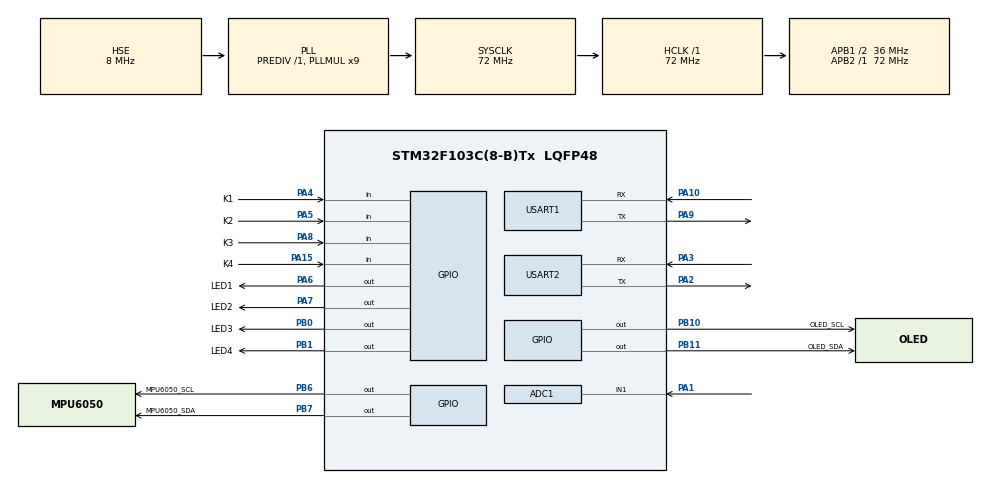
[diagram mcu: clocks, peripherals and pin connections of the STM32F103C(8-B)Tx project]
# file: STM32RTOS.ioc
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ADC1.Channel-0\#ChannelRegularConversion=ADC_CHANNEL_1
ADC1.ContinuousConvMode=ENABLE
ADC1.NbrOfConversionFlag=1
ADC1.Rank-0\#ChannelRegularConversion=1
ADC1.SamplingTime-0\#ChannelRegularConversion=ADC_SAMPLETIME_55CYCLES_5
ADC1.master=1
Dma.ADC1.0.Direction=DMA_PERIPH_TO_MEMORY
Dma.ADC1.0.Instance=DMA1_Channel1
Dma.ADC1.0.MemDataAlignment=DMA_MDATAALIGN_HALFWORD
Dma.ADC1.0.MemInc=DMA_MINC_ENABLE
Dma.ADC1.0.Mode=DMA_CIRCULAR
Dma.ADC1.0.PeriphDataAlignment=DMA_PDATAALIGN_HALFWORD
Dma.ADC1.0.PeriphInc=DMA_PINC_DISABLE
Dma.ADC1.0.Priority=DMA_PRIORITY_LOW
Dma.Request0=ADC1
FREERTOS.Tasks01=defaultTask,0,256,StartDefaultTask,Default,NULL,Dynamic,NULL,NULL;KeyTask,-3,128,StartTKeyTask,Default,NULL,Dynamic,NULL,NULL;DispTask,-3,256,StartDispTask,Default,NULL,Dynamic,NULL,NULL;LedTask,-3,128,StartLedTask,Default,NULL,Dynamic,NULL,NULL
FREERTOS.configTOTAL_HEAP_SIZE=6144
Mcu.Family=STM32F1
Mcu.Name=STM32F103C(8-B)Tx
Mcu.Package=LQFP48
NVIC.DMA1_Channel1_IRQn=true\:5\:0\:false\:false\:true\:true\:false\:true
NVIC.PriorityGroup=NVIC_PRIORITYGROUP_4
NVIC.TIM1_UP_IRQn=true\:0\:0\:false\:false\:true\:false\:false\:true
NVIC.TimeBase=TIM1_UP_IRQn
NVIC.TimeBaseIP=TIM1
NVIC.USART1_IRQn=true\:6\:0\:true\:false\:true\:true\:true\:true
NVIC.USART2_IRQn=true\:6\:0\:true\:false\:true\:true\:true\:true
PA1.Signal=ADCx_IN1
PA10.Mode=Asynchronous
PA10.Signal=USART1_RX
PA13.Mode=Serial_Wire
PA13.Signal=SYS_JTMS-SWDIO
PA14.Mode=Serial_Wire
PA14.Signal=SYS_JTCK-SWCLK
PA15.GPIO_Label=K4
PA15.GPIO_PuPd=GPIO_PULLUP
PA15.Signal=GPIO_Input
PA2.Mode=Asynchronous
PA2.Signal=USART2_TX
PA3.Mode=Asynchronous
PA3.Signal=USART2_RX
PA4.GPIO_Label=K1
PA4.GPIO_PuPd=GPIO_PULLUP
PA4.Signal=GPIO_Input
PA5.GPIO_Label=K2
PA5.GPIO_PuPd=GPIO_PULLUP
PA5.Signal=GPIO_Input
PA6.GPIO_Label=LED1
PA6.PinState=GPIO_PIN_SET
PA6.Signal=GPIO_Output
PA7.GPIO_Label=LED2
PA7.PinState=GPIO_PIN_SET
PA7.Signal=GPIO_Output
PA8.GPIO_Label=K3
PA8.GPIO_PuPd=GPIO_PULLUP
PA8.Signal=GPIO_Input
PA9.Mode=Asynchronous
PA9.Signal=USART1_TX
PB0.GPIO_Label=LED3
PB0.PinState=GPIO_PIN_SET
PB0.Signal=GPIO_Output
PB1.GPIO_Label=LED4
PB1.PinState=GPIO_PIN_SET
PB1.Signal=GPIO_Output
PB10.GPIO_Label=OLED_SCL
PB10.GPIO_ModeDefaultOutputPP=GPIO_MODE_OUTPUT_OD
PB10.Signal=GPIO_Output
PB11.GPIO_Label=OLED_SDA
PB11.GPIO_ModeDefaultOutputPP=GPIO_MODE_OUTPUT_OD
PB11.Signal=GPIO_Output
PB6.GPIO_Label=MPU6050_SCL
PB6.GPIO_ModeDefaultOutputPP=GPIO_MODE_OUTPUT_OD
PB6.Signal=GPIO_Output
PB7.GPIO_Label=MPU6050_SDA
PB7.GPIO_ModeDefaultOutputPP=GPIO_MODE_OUTPUT_OD
PB7.Signal=GPIO_Output
PD0-OSC_IN.Mode=HSE-External-Oscillator
PD0-OSC_IN.Signal=RCC_OSC_IN
PD1-OSC_OUT.Mode=HSE-External-Oscillator
PD1-OSC_OUT.Signal=RCC_OSC_OUT
ProjectManager.HeapSize=0xC00
ProjectManager.StackSize=0x400
ProjectManager.TargetToolchain=MDK-ARM V5
RCC.ADCPresc=RCC_ADCPCLK2_DIV6
RCC.AHBFreq_Value=72000000
RCC.APB1CLKDivider=RCC_HCLK_DIV2
RCC.APB1Freq_Value=36000000
RCC.APB1TimFreq_Value=72000000
RCC.APB2Freq_Value=72000000
RCC.APB2TimFreq_Value=72000000
RCC.HCLKFreq_Value=72000000
RCC.PLLMUL=RCC_PLL_MUL9
RCC.PLLSourceVirtual=RCC_PLLSOURCE_HSE
RCC.SYSCLKFreq_VALUE=72000000
RCC.SYSCLKSource=RCC_SYSCLKSOURCE_PLLCLK
RCC.USBFreq_Value=72000000
SH.ADCx_IN1.0=ADC1_IN1,IN1
USART1.VirtualMode=VM_ASYNC
USART2.VirtualMode=VM_ASYNC
VP_FREERTOS_VS_CMSIS_V1.Mode=CMSIS_V1
VP_SYS_VS_tim1.Mode=TIM1
board=custom

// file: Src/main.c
/* USER CODE BEGIN Header */
/**
  ******************************************************************************
  * @file           : main.c
  * @brief          : Main program body
  ******************************************************************************
  * @attention
  *
  * <h2><center>&copy; Copyright (c) 2019 STMicroelectronics.
  * All rights reserved.</center></h2>
  *
  * This software component is licensed by ST under BSD 3-Clause license,
  * the "License"; You may not use this file except in compliance with the
  * License. You may obtain a copy of the License at:
  *                        opensource.org/licenses/BSD-3-Clause
  *
  ******************************************************************************
  */
/* USER CODE END Header */

#include "main.h"
#include "cmsis_os.h"

/* USER CODE BEGIN Includes */
#include "string.h"
#include "GUI.h"
#include "MPU6050.h"
/* USER CODE END Includes */

ADC_HandleTypeDef hadc1;
DMA_HandleTypeDef hdma_adc1;

UART_HandleTypeDef huart1;
UART_HandleTypeDef huart2;

osThreadId defaultTaskHandle;
osThreadId KeyTaskHandle;
osThreadId DispTaskHandle;
osThreadId LedTaskHandle;
/* USER CODE BEGIN PV */
#define MAX_RECV_LEN 128
extern GUI_FLASH const GUI_FONT GUI_FontHZ_SimSun_12;
extern GUI_CONST_STORAGE GUI_BITMAP bmAvatar_Invert;
extern GUI_CONST_STORAGE GUI_BITMAP bmAvatar;
uint8_t K1_sta =0;
uint8_t K2_sta =0;
uint8_t K3_sta =0;
uint8_t K4_sta =0;
uint8_t func_switch=1;
int mpuok = 0;
uint8_t style = 0;
uint16_t val[20];
uint16_t adval=0;
int page_sta=0;
uint8_t Ledsta =0;
uint8_t LED_flowflag=0;

int start_sig=0;
int func_in=0;

char  recv[100];
int recvtype=0;

int playmode=0;
int ballx=64;
int bally=32;//陀螺仪控制球

int sendTime =100; //1ms
int sendTime_switch=0;
int bSend=0;
int dataStyle=0;
int sendCount=0;
/* USER CODE END PV */

void SystemClock_Config(void);
static void MX_GPIO_Init(void);
static void MX_DMA_Init(void);
static void MX_USART1_UART_Init(void);
static void MX_USART2_UART_Init(void);
static void MX_ADC1_Init(void);
void StartDefaultTask(void const * argument);
void StartTKeyTask(void const * argument);
void StartDispTask(void const * argument);
void StartLedTask(void const * argument);

/* USER CODE BEGIN PFP */
uint8_t rx1_buff[MAX_RECV_LEN] = {0};  // 串口接收数据缓冲
uint8_t * pBuf = rx1_buff;  // 当前接收字节存放位置指针
uint8_t line_flag = 0;      // 一行数据接收标志
HAL_StatusTypeDef rxit_ok; 	// 接收中断是否开启
uint8_t rx2_buff[MAX_RECV_LEN] = {0};  // 串口接收数据缓冲
uint8_t * pBuf2 = rx2_buff; // 当前接收字节存放位置指针
uint8_t line_flag2 = 0;     // 一行数据接收标志
HAL_StatusTypeDef rxit_ok2; // 接收中断是否开启
/* USER CODE END PFP */

/* USER CODE BEGIN 0 */
int fputc(int ch, FILE *f) {
    HAL_UART_Transmit(&huart1, (uint8_t *)&ch, 1, 0xffff); // 向串口1发送一个字符
    return 0;
}
void HAL_ADC_ConvCpltCallback(ADC_HandleTypeDef* hadc)
{
  int i;
  uint16_t sum = 0;
  for (i = 0; i < 20; ++i)
    sum += val[i];
  adval = sum / 20;
}
//LED SET BEGIN
void setLEDS(uint8_t sta){
	HAL_GPIO_WritePin(LED1_GPIO_Port,LED1_Pin,(sta & 0x01)?GPIO_PIN_RESET:GPIO_PIN_SET);
	HAL_GPIO_WritePin(LED2_GPIO_Port,LED2_Pin,(sta & 0x02)?GPIO_PIN_RESET:GPIO_PIN_SET);
	HAL_GPIO_WritePin(LED3_GPIO_Port,LED3_Pin,(sta & 0x04)?GPIO_PIN_RESET:GPIO_PIN_SET);
	HAL_GPIO_WritePin(LED4_GPIO_Port,LED4_Pin,(sta & 0x08)?GPIO_PIN_RESET:GPIO_PIN_SET);
}
// LED SET END
//流水灯 start
void RunLsd(void)
{
  setLEDS(Ledsta);

  if (LED_flowflag)
  {
    Ledsta >>= 1;
    if (0 == Ledsta)
      Ledsta = 0x08;
		HAL_Delay(100);
  }
}
//流水灯 end
//接收中断回调函数
void HAL_UART_RxCpltCallback(UART_HandleTypeDef *UartHandle) {
  uint8_t cnt = 0; // 临时变量，用于重复计数
  if (UartHandle->Instance == USART1)
  {
    ++ pBuf;  // 已接收一个字节数据，当前存储位置指针后移
    if(pBuf == rx1_buff + MAX_RECV_LEN)  // 如果指针已移出数组边界
        pBuf = rx1_buff;    // 重新指向数组开头
    else if(*(pBuf - 1) == '\n')  // 如果之前接收到‘\n’换行符，则表示接收完成
        line_flag  = 1;
    // 重新开启接收中断
    do {
        rxit_ok = HAL_UART_Receive_IT(UartHandle, pBuf, 1);
        if (++cnt >= 5)
            break;
    } while(rxit_ok != HAL_OK);
  }
  else if(UartHandle->Instance == USART2)
  {
    ++ pBuf2;  // 已接收一个字节数据，当前存储位置指针后移
    if(pBuf2 == rx2_buff + MAX_RECV_LEN)  // 如果指针已移出数组边界
        pBuf2 = rx2_buff;    // 重新指向数组开头
    else if(*(pBuf2 - 1) == '\n')  // 如果之前接收到‘\n’换行符，则表示接收完成
        line_flag2  = 1;
    // 重新开启接收中断
    do {
        rxit_ok2 = HAL_UART_Receive_IT(UartHandle, pBuf2, 1);
        if (++cnt >= 5)
            break;
    } while(rxit_ok2 != HAL_OK);
  }
}

//校验和
void addChkSum(char *buf,int len){
	const char TAB[16] = {
		'0', '1', '2','3','4','5','6','7',
		'8', '9', 'A','B','C','D','E','F'
	};
	int i=0;
	uint16_t sum =0;
	for (i=0;i<len;++i){
		if(buf[i] !='\n'&&buf[i]!=0)
			sum+=buf[i];
		else
			break;
	}
	buf[i]=TAB[(sum&0xFF)>>4];//保留高位右移4个字节
	buf[i+1]=TAB[sum&0x0F];
	buf[i+2]='\n';
	buf[i+3]='\0';
}
/* USER CODE END 0 */

int main(void)
{

  /* MCU Configuration--------------------------------------------------------*/

  /* Reset of all peripherals, Initializes the Flash interface and the Systick. */
  HAL_Init();

  /* Configure the system clock */
  SystemClock_Config();

  /* Initialize all configured peripherals */
  MX_GPIO_Init();
  MX_DMA_Init();
  MX_USART1_UART_Init();
  MX_USART2_UART_Init();
  MX_ADC1_Init();
  /* USER CODE BEGIN 2 */
	printf("hello PC\n");
	rxit_ok = HAL_UART_Receive_IT(&huart1, pBuf, 1);
	rxit_ok2 = HAL_UART_Receive_IT(&huart2, pBuf2, 1);
  /* USER CODE END 2 */

  /* Create the thread(s) */
  /* definition and creation of defaultTask */
  osThreadDef(defaultTask, StartDefaultTask, osPriorityNormal, 0, 256);
  defaultTaskHandle = osThreadCreate(osThread(defaultTask), NULL);

  /* definition and creation of KeyTask */
  osThreadDef(KeyTask, StartTKeyTask, osPriorityIdle, 0, 128);
  KeyTaskHandle = osThreadCreate(osThread(KeyTask), NULL);

  /* definition and creation of DispTask */
  osThreadDef(DispTask, StartDispTask, osPriorityIdle, 0, 256);
  DispTaskHandle = osThreadCreate(osThread(DispTask), NULL);

  /* definition and creation of LedTask */
  osThreadDef(LedTask, StartLedTask, osPriorityIdle, 0, 128);
  LedTaskHandle = osThreadCreate(osThread(LedTask), NULL);

  /* Start scheduler */
  osKernelStart();

  /* We should never get here as control is now taken by the scheduler */

  /* Infinite loop */
  while (1)
  {

  }
}

void SystemClock_Config(void)
{
  RCC_OscInitTypeDef RCC_OscInitStruct = {0};
  RCC_ClkInitTypeDef RCC_ClkInitStruct = {0};
  RCC_PeriphCLKInitTypeDef PeriphClkInit = {0};

  /** Initializes the CPU, AHB and APB busses clocks
  */
  RCC_OscInitStruct.OscillatorType = RCC_OSCILLATORTYPE_HSE;
  RCC_OscInitStruct.HSEState = RCC_HSE_ON;
  RCC_OscInitStruct.HSEPredivValue = RCC_HSE_PREDIV_DIV1;
  RCC_OscInitStruct.HSIState = RCC_HSI_ON;
  RCC_OscInitStruct.PLL.PLLState = RCC_PLL_ON;
  RCC_OscInitStruct.PLL.PLLSource = RCC_PLLSOURCE_HSE;
  RCC_OscInitStruct.PLL.PLLMUL = RCC_PLL_MUL9;
  if (HAL_RCC_OscConfig(&RCC_OscInitStruct) != HAL_OK)
  {
    Error_Handler();
  }
  /** Initializes the CPU, AHB and APB busses clocks
  */
  RCC_ClkInitStruct.ClockType = RCC_CLOCKTYPE_HCLK|RCC_CLOCKTYPE_SYSCLK
                              |RCC_CLOCKTYPE_PCLK1|RCC_CLOCKTYPE_PCLK2;
  RCC_ClkInitStruct.SYSCLKSource = RCC_SYSCLKSOURCE_PLLCLK;
  RCC_ClkInitStruct.AHBCLKDivider = RCC_SYSCLK_DIV1;
  RCC_ClkInitStruct.APB1CLKDivider = RCC_HCLK_DIV2;
  RCC_ClkInitStruct.APB2CLKDivider = RCC_HCLK_DIV1;

  if (HAL_RCC_ClockConfig(&RCC_ClkInitStruct, FLASH_LATENCY_2) != HAL_OK)
  {
    Error_Handler();
  }
  PeriphClkInit.PeriphClockSelection = RCC_PERIPHCLK_ADC;
  PeriphClkInit.AdcClockSelection = RCC_ADCPCLK2_DIV6;
  if (HAL_RCCEx_PeriphCLKConfig(&PeriphClkInit) != HAL_OK)
  {
    Error_Handler();
  }
}

static void MX_ADC1_Init(void)
{

  ADC_ChannelConfTypeDef sConfig = {0};

  /** Common config
  */
  hadc1.Instance = ADC1;
  hadc1.Init.ScanConvMode = ADC_SCAN_DISABLE;
  hadc1.Init.ContinuousConvMode = ENABLE;
  hadc1.Init.DiscontinuousConvMode = DISABLE;
  hadc1.Init.ExternalTrigConv = ADC_SOFTWARE_START;
  hadc1.Init.DataAlign = ADC_DATAALIGN_RIGHT;
  hadc1.Init.NbrOfConversion = 1;
  if (HAL_ADC_Init(&hadc1) != HAL_OK)
  {
    Error_Handler();
  }
  /** Configure Regular Channel
  */
  sConfig.Channel = ADC_CHANNEL_1;
  sConfig.Rank = ADC_REGULAR_RANK_1;
  sConfig.SamplingTime = ADC_SAMPLETIME_55CYCLES_5;
  if (HAL_ADC_ConfigChannel(&hadc1, &sConfig) != HAL_OK)
  {
    Error_Handler();
  }

}

static void MX_USART1_UART_Init(void)
{

  huart1.Instance = USART1;
  huart1.Init.BaudRate = 115200;
  huart1.Init.WordLength = UART_WORDLENGTH_8B;
  huart1.Init.StopBits = UART_STOPBITS_1;
  huart1.Init.Parity = UART_PARITY_NONE;
  huart1.Init.Mode = UART_MODE_TX_RX;
  huart1.Init.HwFlowCtl = UART_HWCONTROL_NONE;
  huart1.Init.OverSampling = UART_OVERSAMPLING_16;
  if (HAL_UART_Init(&huart1) != HAL_OK)
  {
    Error_Handler();
  }

}

static void MX_USART2_UART_Init(void)
{

  huart2.Instance = USART2;
  huart2.Init.BaudRate = 115200;
  huart2.Init.WordLength = UART_WORDLENGTH_8B;
  huart2.Init.StopBits = UART_STOPBITS_1;
  huart2.Init.Parity = UART_PARITY_NONE;
  huart2.Init.Mode = UART_MODE_TX_RX;
  huart2.Init.HwFlowCtl = UART_HWCONTROL_NONE;
  huart2.Init.OverSampling = UART_OVERSAMPLING_16;
  if (HAL_UART_Init(&huart2) != HAL_OK)
  {
    Error_Handler();
  }

}

static void MX_DMA_Init(void)
{
  /* DMA controller clock enable */
  __HAL_RCC_DMA1_CLK_ENABLE();

  /* DMA interrupt init */
  /* DMA1_Channel1_IRQn interrupt configuration */
  HAL_NVIC_SetPriority(DMA1_Channel1_IRQn, 5, 0);
  HAL_NVIC_EnableIRQ(DMA1_Channel1_IRQn);

}

static void MX_GPIO_Init(void)
{
  GPIO_InitTypeDef GPIO_InitStruct = {0};

  /* GPIO Ports Clock Enable */
  __HAL_RCC_GPIOD_CLK_ENABLE();
  __HAL_RCC_GPIOA_CLK_ENABLE();
  __HAL_RCC_GPIOB_CLK_ENABLE();

  /*Configure GPIO pin Output Level */
  HAL_GPIO_WritePin(GPIOA, LED1_Pin|LED2_Pin, GPIO_PIN_SET);

  /*Configure GPIO pin Output Level */
  HAL_GPIO_WritePin(GPIOB, LED3_Pin|LED4_Pin, GPIO_PIN_SET);

  /*Configure GPIO pin Output Level */
  HAL_GPIO_WritePin(GPIOB, OLED_SCL_Pin|OLED_SDA_Pin|MPU6050_SCL_Pin|MPU6050_SDA_Pin, GPIO_PIN_RESET);

  /*Configure GPIO pins : K1_Pin K2_Pin K3_Pin K4_Pin */
  GPIO_InitStruct.Pin = K1_Pin|K2_Pin|K3_Pin|K4_Pin;
  GPIO_InitStruct.Mode = GPIO_MODE_INPUT;
  GPIO_InitStruct.Pull = GPIO_PULLUP;
  HAL_GPIO_Init(GPIOA, &GPIO_InitStruct);

  /*Configure GPIO pins : LED1_Pin LED2_Pin */
  GPIO_InitStruct.Pin = LED1_Pin|LED2_Pin;
  GPIO_InitStruct.Mode = GPIO_MODE_OUTPUT_PP;
  GPIO_InitStruct.Pull = GPIO_NOPULL;
  GPIO_InitStruct.Speed = GPIO_SPEED_FREQ_LOW;
  HAL_GPIO_Init(GPIOA, &GPIO_InitStruct);

  /*Configure GPIO pins : LED3_Pin LED4_Pin */
  GPIO_InitStruct.Pin = LED3_Pin|LED4_Pin;
  GPIO_InitStruct.Mode = GPIO_MODE_OUTPUT_PP;
  GPIO_InitStruct.Pull = GPIO_NOPULL;
  GPIO_InitStruct.Speed = GPIO_SPEED_FREQ_LOW;
  HAL_GPIO_Init(GPIOB, &GPIO_InitStruct);

  /*Configure GPIO pins : OLED_SCL_Pin OLED_SDA_Pin MPU6050_SCL_Pin MPU6050_SDA_Pin */
  GPIO_InitStruct.Pin = OLED_SCL_Pin|OLED_SDA_Pin|MPU6050_SCL_Pin|MPU6050_SDA_Pin;
  GPIO_InitStruct.Mode = GPIO_MODE_OUTPUT_OD;
  GPIO_InitStruct.Pull = GPIO_NOPULL;
  GPIO_InitStruct.Speed = GPIO_SPEED_FREQ_LOW;
  HAL_GPIO_Init(GPIOB, &GPIO_InitStruct);

}

/* USER CODE BEGIN 4 */
// Function 1 START
void Func1(char *buf){
				if(K1_sta) page_sta=0;
				if(K2_sta) page_sta=1;
				if(page_sta==0){
					GUI_DispStringAt("按键|LED|ADC状态",0,0);
					sprintf(buf,"\n\nK1%s K2%s K3%s K4%s\nL1%s L2%s L3%s L4:%s\nADC:%d",K1_sta ? "▁" : "▅",K2_sta ? "▁" : "▅",K3_sta ? "▁" : "▅",K4_sta ? "▁" : "▅",
					(HAL_GPIO_ReadPin(LED1_GPIO_Port,LED1_Pin) == GPIO_PIN_RESET)?"●" : "○",
					(HAL_GPIO_ReadPin(LED2_GPIO_Port,LED2_Pin) == GPIO_PIN_RESET)?"●" : "○",
					(HAL_GPIO_ReadPin(LED3_GPIO_Port,LED3_Pin) == GPIO_PIN_RESET)?"●" : "○",
					(HAL_GPIO_ReadPin(LED4_GPIO_Port,LED4_Pin) == GPIO_PIN_RESET)?"●" : "○",
					adval);
				}else{
					GUI_DispStringAt("陀螺仪原始数据",0,0);
					sprintf(buf, "\n\nax:%6d gx:%6d\nay:%6d gy:%6d\naz:%6d gz:%6d", ax, gx, ay, gy, az, gz);
				}
				if(K3_sta==1) {
					LED_flowflag=!LED_flowflag;
					osDelay(300);

				}
				char t[20];
				sprintf(t,"%d/2",page_sta+1);
				GUI_DispStringAt(t,110,0);			//页码显示
			}
// Function 1 END

// Function 2 START
void Func2(char *buf){
				if(K1_sta) page_sta=0;
				if(K2_sta) page_sta=1;
				if(K3_sta==1) playmode = !playmode;
				if(playmode ==1){
					sprintf(buf,"%s","");
				  ballx=(90-fAY)*0.667;
				  if(ballx<=0)
				     ballx=0;
					else if(ballx>=120)
				     ballx=120;
					else
				     ballx=(90-fAY)*0.667;

					if(fAX>0){
						 bally=64-2*fAX/3;
					}
					else {
						 bally=64+2*fAX/3;
					}
		      GUI_DispStringAt("●",ballx, bally);
				  HAL_Delay(10);
				}
				if(playmode==0){
					switch(page_sta){
					case 0: GUI_DispStringAt("MPU6050姿态角", 0, 0);sprintf(buf, "\n\n俯仰角:%6.1f°\n横滚角:%6.1f°\n航向角:%6.1f°", fAX, fAY, fAZ);break;
					case 1: GUI_DispStringAt("陀螺仪原始数据",0,0);sprintf(buf, "\n\nax:%6d gx:%6d\nay:%6d gy:%6d\naz:%6d gz:%6d", ax, gx, ay, gy, az, gz);break;
					default:GUI_DispStringAt("ERROR", 0, 0);
					}
					char t[20];
					sprintf(t,"%d/2",page_sta+1);
					GUI_DispStringAt(t,110,0);			//页码显示
				}
			}
// Function 2 END

// Function 3 START
void Func3(char *buf){
			GUI_DispStringAt("串口测试", 0, 0);
			sprintf(buf, "\n%s", recv);
			if(K1_sta==1) {
				sendTime_switch++;
				switch(sendTime_switch){
					case 0:sendTime=100;break;
					case 1:sendTime=200;break;
					case 2:sendTime=500;break;
					case 3:sendTime=1000;break;
					default:sendTime_switch=0;sendTime=100;break;
					}
				osDelay(300);
			}
			if(K3_sta==1) {
				bSend=!bSend;
				osDelay(300);
			}
			if(K2_sta==1) {
				dataStyle=!dataStyle;
			}
			if(bSend) GUI_DispStringAt("正在发送",70,0);
			else GUI_DispStringAt("停止发送",70,0);

		}
// Function 3 END
/* USER CODE END 4 */

void StartDefaultTask(void const * argument)
{

  /* USER CODE BEGIN 5 */
	HAL_ADCEx_Calibration_Start(&hadc1);
  HAL_ADC_Start_DMA(&hadc1, (uint32_t *)val, 20);
  char buf[100];
	uint32_t oldtick = 0;
	mpuok = MPU_init();
	if (!mpuok)
		printf("MPU6050 init error!\n");
  /* Infinite loop */
  for(;;) {
		if (line_flag) {    // 如果串口1接收到一行数据
			printf("rx1_rec_data = %s", rx1_buff);        // 打印输出接收内容
			/////////////////////////////
			sprintf(recv,"%s",rx1_buff);
			int j=0;
			char t[100];
			for(int i=0;i<strlen(recv)-2;i++){
				t[j]=recv[i];
				j++;
				if(recv[i]=='\n'){
					memset(t, 0, sizeof(t));
					j=0;
				}
			}
			recvtype+=strlen(rx1_buff)-2;
			sprintf(recv, "\nReceive:\n%s\nSize:%d", t, recvtype);
			memset(t, 0, sizeof(t));
			// 接收数据处理
			/////////////////////////////
			memset(rx1_buff, 0, sizeof(rx1_buff));   // 清空串口1缓存区
			pBuf = rx1_buff;// 重新将串口1接收数据的存放指针指向接收缓存的头部
			(&huart1)->pRxBuffPtr = pBuf;    // 重新将串口1结构体中的接收缓冲指针指向缓冲数组头部
			line_flag = 0;  // 串口1接收标志清零
		}
		if (line_flag2) {		// 如果串口2接收到一行数据
			printf("rx2_buff = %s", rx2_buff);       // 打印接收内容到串口1
			//////////////////////////////
			// 接收数据处理
			//////////////////////////////
			memset(rx2_buff, 0, sizeof(rx2_buff));   // 清空串口2缓存区
			pBuf2 = rx2_buff;// 重新将串口2接收数据的存放指针指向接收缓存的头部
			(&huart2)->pRxBuffPtr = pBuf2;    // 重新将串口2结构体中的接收缓冲指针指向缓冲数组头部
			line_flag2 = 0;  // 串口2接收标志清零
		}
	if (rxit_ok != HAL_OK)		// 如果串口1接收中断还没有启动，尝试再次启动
		rxit_ok = HAL_UART_Receive_IT(&huart1, pBuf, 1);
	if (mpuok) MPU_getdata();

	if ((HAL_GetTick() >= oldtick + sendTime) && bSend)
		{
			oldtick = HAL_GetTick();
			if (mpuok)
			{
				if (dataStyle)	// 格式化计算后数据帧
					sprintf(buf, "7MR,%.1f,%.1f,%.1f,%.1f\n", adval * 3.3 / 4096, fAX, fAY, fAZ);
				else		// 格式化原始数据帧
					sprintf(buf, "7MY,%d,%d,%d,%d,%d,%d,%d\n", adval, ax, ay, az, gx, gy, gz);
				// 同时将字符串发送到串口1和串口2
				addChkSum(buf,strlen(buf));
				printf("%s", buf);
				++sendCount;
			}
			osDelay(1);

			// 格式化状态帧
			sprintf(buf, "7MBD%c%c%c%c%c%c%c%c\n",
									(Ledsta & 0x01) ? '1' : '0',
									(Ledsta & 0x02) ? '1' : '0',
									(Ledsta & 0x04) ? '1' : '0',
									(Ledsta & 0x08) ? '1' : '0',
									(K1_sta) ? 'D' : 'U',
									(K2_sta) ? 'D' : 'U',
									(K3_sta) ? 'D' : 'U',
									(K4_sta) ? 'D' : 'U');
			addChkSum(buf,strlen(buf));
			printf("%s", buf);
			++sendCount;
		}

	osDelay(1);
	}
  /* USER CODE END 5 */
}

void StartTKeyTask(void const * argument)
{
  /* USER CODE BEGIN StartTKeyTask */
  /* Infinite loop */
  for(;;)
  {
		if(HAL_GPIO_ReadPin(K1_GPIO_Port,K1_Pin) == GPIO_PIN_RESET) {
			K1_sta=1;
			while(HAL_GPIO_ReadPin(K1_GPIO_Port,K1_Pin) == GPIO_PIN_RESET){
				osDelay(10);
			}
			osDelay(10);
			K1_sta=0;
			} else if (HAL_GPIO_ReadPin(K2_GPIO_Port,K2_Pin) == GPIO_PIN_RESET){
					K2_sta=1;
					while(HAL_GPIO_ReadPin(K2_GPIO_Port,K2_Pin) == GPIO_PIN_RESET){
					osDelay(10);
					}
					osDelay(10);
					K2_sta=0;
				} else if (HAL_GPIO_ReadPin(K3_GPIO_Port,K3_Pin) == GPIO_PIN_RESET){
						K3_sta=1;
						while(HAL_GPIO_ReadPin(K3_GPIO_Port,K3_Pin) == GPIO_PIN_RESET){
						osDelay(10);
						}
						osDelay(10);
						K3_sta=0;
					}else if (HAL_GPIO_ReadPin(K4_GPIO_Port,K4_Pin) == GPIO_PIN_RESET){
							K4_sta=1;
							while(HAL_GPIO_ReadPin(K4_GPIO_Port,K4_Pin) == GPIO_PIN_RESET){
							osDelay(10);
							}
							osDelay(10);
							K4_sta=0;
						}

    osDelay(1);
  }
  /* USER CODE END StartTKeyTask */
}

void StartDispTask(void const * argument)
{
  /* USER CODE BEGIN StartDispTask */
	char buf[100];
	GUI_Init();
  GUI_SetFont(&GUI_FontHZ_SimSun_12);
	GUI_Clear();
  GUI_DispStringAt("电子系统综合课程设计",5,0);
	GUI_DispStringAt("xxxxxxx",40,20);
	GUI_DispStringAt("xxx",45,40);
	GUI_Update();
	HAL_Delay(1000);

  /* Infinite loop */
  for(;;)
  {
		GUI_Clear();
		if((K1_sta==1||K2_sta==1||K3_sta==1||K4_sta==1)&!start_sig){
			sprintf(buf,"基于STM32的无线节点\n\n->系统测试\n  陀螺仪姿态解算\n  串口通信测试\n  WIFI通信测试\n");
			start_sig=1;
		}
		if(K1_sta&start_sig&func_in==0){
			switch(func_switch){
				case 0: sprintf(buf,"基于STM32的无线节点\n\n  陀螺仪姿态解算\n  串口通信测试\n->WIFI通信测试\n");func_switch=3;break;
				case 1: sprintf(buf,"基于STM32的无线节点\n\n->系统测试\n  陀螺仪姿态解算\n  串口通信测试\n  WIFI通信测试\n");func_switch=0;break;
				case 2: sprintf(buf,"基于STM32的无线节点\n\n  系统测试\n->陀螺仪姿态解算\n  串口通信测试\n  WIFI通信测试\n");func_switch=1;break;
				case 3: sprintf(buf,"基于STM32的无线节点\n\n  系统测试\n  陀螺仪姿态解算\n->串口通信测试\n  WIFI通信测试\n");func_switch=2;break;
				default:sprintf(buf,"基于STM32的无线节点\n\n->系统测试\n  陀螺仪姿态解算\n  串口通信测试\n  WIFI通信测试\n");func_switch=0;break;
			}
			osDelay(300);
		}
		if(K2_sta&start_sig&func_in==0){
			switch(func_switch){
				case 0: sprintf(buf,"基于STM32的无线节点\n\n  系统测试\n->陀螺仪姿态解算\n  串口通信测试\n  WIFI通信测试\n");func_switch=1;break;
				case 1: sprintf(buf,"基于STM32的无线节点\n\n  系统测试\n  陀螺仪姿态解算\n->串口通信测试\n  WIFI通信测试\n");func_switch=2;break;
				case 2: sprintf(buf,"基于STM32的无线节点\n\n  陀螺仪姿态解算\n  串口通信测试\n->WIFI通信测试\n");func_switch=3;break;
				case 3: sprintf(buf,"基于STM32的无线节点\n\n->系统测试\n  陀螺仪姿态解算\n  串口通信测试\n  WIFI通信测试\n");func_switch=0;break;
				default:sprintf(buf,"基于STM32的无线节点\n\n  系统测试\n  陀螺仪姿态解算\n  串口通信测试\n  WIFI通信测试\n");func_switch=0;break;
			}
			osDelay(300);
		}
		if(K3_sta&start_sig&func_in==0){
			func_in=1;
			osDelay(300);
		}
		if(K4_sta&start_sig){
			sprintf(buf,"基于STM32的无线节点\n\n->系统测试\n  陀螺仪姿态解算\n  串口通信测试\n  WIFI通信测试\n");
			func_in=0;
			func_switch=0;
			page_sta=0;
			recvtype=0;
			memset(recv, 0, sizeof(recv));
			ballx=0;
			bally=0;
			playmode=0;
		}

		if(func_in&start_sig){
			switch(func_switch){
				case 0:Func1(buf);break;
				case 1:Func2(buf);break;
				case 2:Func3(buf);break;
				default:Func1(buf);break;
		}
	}

		if(start_sig==0){
			GUI_DrawBitmap(&bmAvatar,0,0);
		}else{
			GUI_DispStringAt(buf,0,0);
		}
		GUI_Update();
    osDelay(1);
  }
  /* USER CODE END StartDispTask */
}

void StartLedTask(void const * argument)
{
  /* USER CODE BEGIN StartLedTask */
	uint8_t ledstatus = 0;
  ledstatus=0xFF;
  for(int i=0;i<10;i++){
	setLEDS(ledstatus);
	HAL_Delay(100);
	ledstatus=~ledstatus;
  }
  /* Infinite loop */
  for(;;)
  {
		RunLsd();
    osDelay(1);
  }
  /* USER CODE END StartLedTask */
}

void HAL_TIM_PeriodElapsedCallback(TIM_HandleTypeDef *htim)
{
  if (htim->Instance == TIM1) {
    HAL_IncTick();
  }
}

void Error_Handler(void)
{
}

/************************ (C) COPYRIGHT STMicroelectronics *****END OF FILE****/
